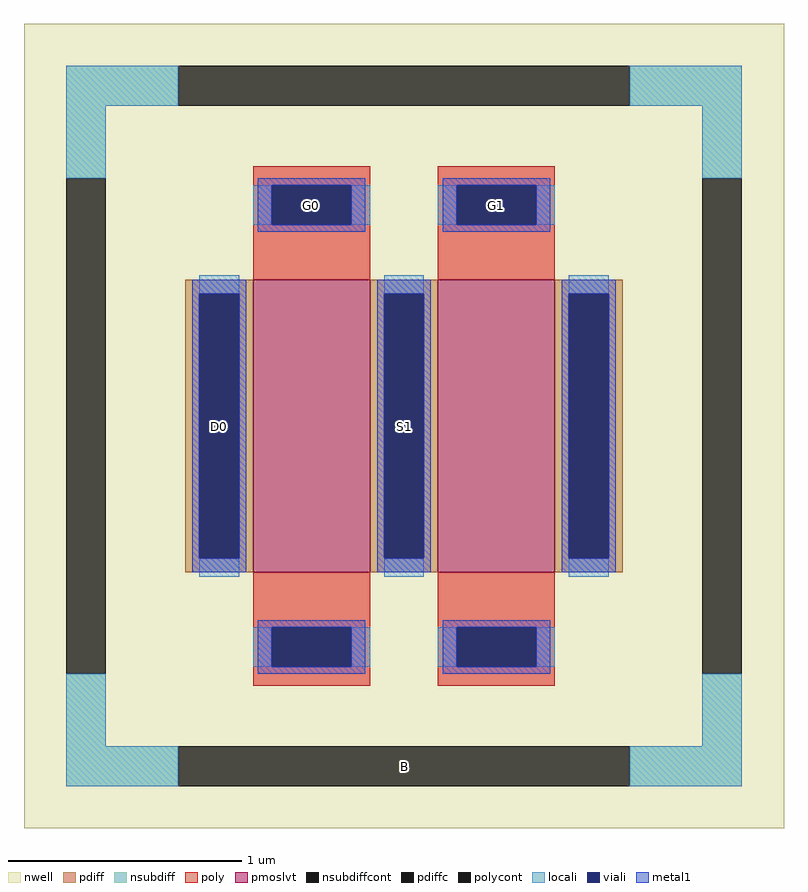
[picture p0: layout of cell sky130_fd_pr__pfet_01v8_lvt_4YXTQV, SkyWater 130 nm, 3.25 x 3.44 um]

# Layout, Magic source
magic
tech sky130A
magscale 1 2
<< nwell >>
rect -325 -344 325 344
<< pmoslvt >>
rect -129 -125 -29 125
rect 29 -125 129 125
<< pdiff >>
rect -187 113 -129 125
rect -187 -113 -175 113
rect -141 -113 -129 113
rect -187 -125 -129 -113
rect -29 113 29 125
rect -29 -113 -17 113
rect 17 -113 29 113
rect -29 -125 29 -113
rect 129 113 187 125
rect 129 -113 141 113
rect 175 -113 187 113
rect 129 -125 187 -113
<< pdiffc >>
rect -175 -113 -141 113
rect -17 -113 17 113
rect 141 -113 175 113
<< nsubdiff >>
rect -289 274 -193 308
rect 193 274 289 308
rect -289 212 -255 274
rect 255 212 289 274
rect -289 -274 -255 -212
rect 255 -274 289 -212
rect -289 -308 -193 -274
rect 193 -308 289 -274
<< nsubdiffcont >>
rect -193 274 193 308
rect -289 -212 -255 212
rect 255 -212 289 212
rect -193 -308 193 -274
<< poly >>
rect -129 206 -29 222
rect -129 172 -113 206
rect -45 172 -29 206
rect -129 125 -29 172
rect 29 206 129 222
rect 29 172 45 206
rect 113 172 129 206
rect 29 125 129 172
rect -129 -172 -29 -125
rect -129 -206 -113 -172
rect -45 -206 -29 -172
rect -129 -222 -29 -206
rect 29 -172 129 -125
rect 29 -206 45 -172
rect 113 -206 129 -172
rect 29 -222 129 -206
<< polycont >>
rect -113 172 -45 206
rect 45 172 113 206
rect -113 -206 -45 -172
rect 45 -206 113 -172
<< locali >>
rect -289 274 -193 308
rect 193 274 289 308
rect -289 212 -255 274
rect 255 212 289 274
rect -129 172 -113 206
rect -45 172 -29 206
rect 29 172 45 206
rect 113 172 129 206
rect -175 113 -141 129
rect -175 -129 -141 -113
rect -17 113 17 129
rect -17 -129 17 -113
rect 141 113 175 129
rect 141 -129 175 -113
rect -129 -206 -113 -172
rect -45 -206 -29 -172
rect 29 -206 45 -172
rect 113 -206 129 -172
rect -289 -274 -255 -212
rect 255 -274 289 -212
rect -289 -308 -193 -274
rect 193 -308 289 -274
<< viali >>
rect -113 172 -45 206
rect 45 172 113 206
rect -175 -113 -141 113
rect -17 -113 17 113
rect 141 -113 175 113
rect -113 -206 -45 -172
rect 45 -206 113 -172
<< metal1 >>
rect -125 206 -33 212
rect -125 172 -113 206
rect -45 172 -33 206
rect -125 166 -33 172
rect 33 206 125 212
rect 33 172 45 206
rect 113 172 125 206
rect 33 166 125 172
rect -181 113 -135 125
rect -181 -113 -175 113
rect -141 -113 -135 113
rect -181 -125 -135 -113
rect -23 113 23 125
rect -23 -113 -17 113
rect 17 -113 23 113
rect -23 -125 23 -113
rect 135 113 181 125
rect 135 -113 141 113
rect 175 -113 181 113
rect 135 -125 181 -113
rect -125 -172 -33 -166
rect -125 -206 -113 -172
rect -45 -206 -33 -172
rect -125 -212 -33 -206
rect 33 -172 125 -166
rect 33 -206 45 -172
rect 113 -206 125 -172
rect 33 -212 125 -206
<< labels >>
rlabel nsubdiffcont 0 -291 0 -291 0 B
port 1 nsew
rlabel pdiffc -158 0 -158 0 0 D0
port 2 nsew
rlabel polycont -79 189 -79 189 0 G0
port 3 nsew
rlabel pdiffc 0 0 0 0 0 S1
port 4 nsew
rlabel polycont 79 189 79 189 0 G1
port 5 nsew
<< properties >>
string FIXED_BBOX -563 -291 272 291
string gencell sky130_fd_pr__pfet_01v8_lvt
string library sky130
string parameters w 1.25 l 0.5 m 1 nf 2 diffcov 100 polycov 100 guard 1 glc 1 grc 1 gtc 1 gbc 1 tbcov 100 rlcov 100 topc 1 botc 0 poverlap 1 doverlap 1 lmin 0.35 wmin 0.42 class mosfet compatible {sky130_fd_pr__pfet_01v8  sky130_fd_pr__pfet_01v8_lvt sky130_fd_pr__pfet_01v8_hvt  sky130_fd_pr__pfet_g5v0d10v5} full_metal 1 conn_gates 0 viasrc 100 viadrn 100 viagate 100 viagb 0 viagr 0 viagl 0 viagt 0 doports 1
<< end >>
